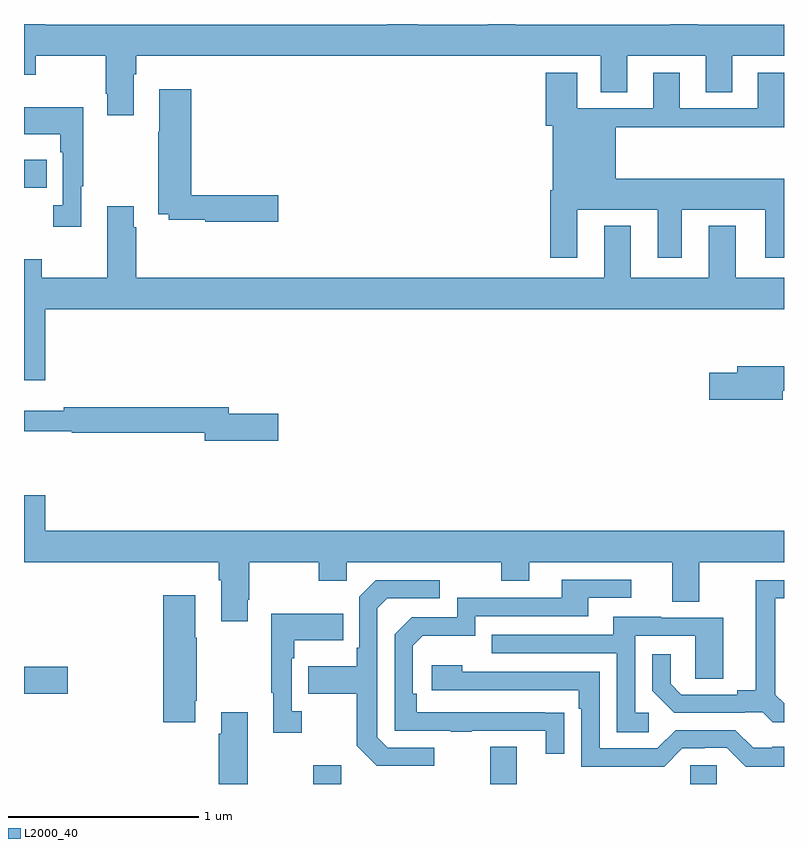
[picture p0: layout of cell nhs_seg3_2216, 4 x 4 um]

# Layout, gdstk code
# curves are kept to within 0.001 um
import gdstk
lib = gdstk.Library(unit=1e-6, precision=1e-09)
def R(c, l, rs):  # rectangles x0, y0, x1, y1
    for r in rs: c.add(gdstk.rectangle(r[:2], r[2:], *l))
def P(c, l, *ps):  # polygons
    for p in ps: c.add(gdstk.Polygon(p, *l))
L2000_40 = (2000, 40)

nhs_seg3_2216 = lib.new_cell('nhs_seg3_2216')
R(nhs_seg3_2216, L2000_40, [(226.522,714.4,226.669,714.499), (227.453,714.4,227.593,714.595), (228.507,714.4,228.645,714.498), (225,714.874,225.229,715.016), (225,717.538,225.119,717.685)])
P(nhs_seg3_2216, L2000_40, [(225.577,718.136),(225.59,718.136),(225.59,718.232),(228.035,718.232),(228.035,718.042),(228.175,718.042),(228.175,718.232),(228.587,718.232),(228.587,718.042),(228.727,718.042),(228.727,718.232),(229,718.232),(229,718.396),(228.547,718.396),(228.547,718.4),(228.4,718.4),(228.4,718.396),(227.586,718.396),(227.586,718.4),(227.44,718.4),(227.44,718.396),(227.073,718.396),(227.073,718.4),(226.913,718.4),(226.913,718.396),(225.112,718.396),(225.112,718.4),(225,718.4),(225,718.133),(225.063,718.133),(225.063,718.232),(225.43,718.232),(225.43,718.033),(225.437,718.033),(225.437,717.921),(225.577,717.921)],
  [(227.911,717.422),(228.335,717.422),(228.335,717.171),(228.463,717.171),(228.463,717.422),(228.902,717.422),(228.902,717.171),(229,717.171),(229,717.586),(228.115,717.586),(228.115,717.856),(229,717.856),(229,718.144),(228.863,718.144),(228.863,717.957),(228.451,717.957),(228.451,718.144),(228.311,718.144),(228.311,717.957),(227.911,717.957),(227.911,718.144),(227.747,718.144),(227.747,717.864),(227.783,717.864),(227.783,717.526),(227.771,717.526),(227.771,717.171),(227.911,717.171)],
  [(226.339,717.5),(225.881,717.5),(225.881,718.057),(225.713,718.057),(225.713,717.833),(225.706,717.833),(225.706,717.398),(225.762,717.398),(225.762,717.37),(225.954,717.37),(225.954,717.358),(226.339,717.358)],
  [(225.301,717.545),(225.313,717.545),(225.313,717.961),(225,717.961),(225,717.821),(225.192,717.821),(225.192,717.725),(225.204,717.725),(225.204,717.446),(225.153,717.446),(225.153,717.333),(225.301,717.333)],
  [(225.112,716.9),(229,716.9),(229,717.064),(228.745,717.064),(228.745,717.337),(228.605,717.337),(228.605,717.064),(228.193,717.064),(228.193,717.337),(228.053,717.337),(228.053,717.064),(225.59,717.064),(225.59,717.329),(225.577,717.329),(225.577,717.442),(225.437,717.442),(225.437,717.064),(225.093,717.064),(225.093,717.163),(225,717.163),(225,716.526),(225.112,716.526)],
  [(228.994,716.47),(229,716.47),(229,716.599),(228.755,716.599),(228.755,716.565),(228.606,716.565),(228.606,716.423),(228.994,716.423)],
  [(226.339,716.348),(226.078,716.348),(226.078,716.384),(225.208,716.384),(225.208,716.365),(225,716.365),(225,716.256),(225.252,716.256),(225.252,716.248),(225.95,716.248),(225.95,716.206),(226.339,716.206)],
  [(226.177,715.369),(226.185,715.369),(226.185,715.568),(226.552,715.568),(226.552,715.469),(226.698,715.469),(226.698,715.568),(227.512,715.568),(227.512,715.469),(227.659,715.469),(227.659,715.568),(228.413,715.568),(228.413,715.36),(228.553,715.36),(228.553,715.568),(229,715.568),(229,715.732),(225.112,715.732),(225.112,715.921),(225,715.921),(225,715.568),(226.025,715.568),(226.025,715.472),(226.037,715.472),(226.037,715.257),(226.177,715.257)],
  [(227.843,714.776),(227.066,714.777),(227.066,714.874),(227.046,714.874),(227.046,715.128),(227.099,715.181),(227.376,715.181),(227.376,715.284),(227.971,715.284),(227.971,715.38),(228.196,715.38),(228.196,715.476),(227.831,715.476),(227.831,715.38),(227.28,715.38),(227.28,715.278),(227.04,715.278),(226.95,715.188),(226.95,714.681),(227.245,714.681),(227.245,714.676),(227.357,714.676),(227.357,714.681),(227.747,714.681),(227.747,714.558),(227.843,714.558)],
  [(227.158,714.591),(226.914,714.591),(226.86,714.645),(226.86,715.326),(226.911,715.377),(227.188,715.377),(227.188,715.473),(226.851,715.473),(226.764,715.386),(226.764,715.117),(226.752,715.117),(226.752,715.021),(226.495,715.021),(226.495,714.874),(226.752,714.874),(226.752,714.601),(226.857,714.495),(227.158,714.495)],
  [(229,714.824),(228.955,714.869),(228.955,715.377),(229,715.377),(229,715.473),(228.851,715.473),(228.851,714.893),(228.755,714.893),(228.755,714.87),(228.46,714.87),(228.403,714.927),(228.403,715.084),(228.306,715.084),(228.306,714.89),(228.422,714.774),(228.794,714.774),(228.794,714.777),(228.888,714.777),(228.94,714.725),(229,714.725)],
  [(225.901,714.838),(225.909,714.838),(225.909,715.169),(225.901,715.169),(225.901,715.393),(225.734,715.393),(225.734,714.726),(225.901,714.726)],
  [(226.462,714.782),(226.41,714.782),(226.41,715.061),(226.423,715.061),(226.423,715.157),(226.679,715.157),(226.679,715.297),(226.302,715.297),(226.302,714.881),(226.313,714.881),(226.313,714.669),(226.462,714.669)],
  [(228.289,714.774),(228.216,714.774),(228.216,715.179),(228.534,715.179),(228.534,714.955),(228.679,714.955),(228.679,715.275),(228.355,715.275),(228.355,715.279),(228.101,715.279),(228.101,715.185),(227.461,715.185),(227.461,715.089),(228.12,715.089),(228.12,714.673),(228.289,714.673)],
  [(229,714.595),(228.937,714.595),(228.937,714.591),(228.837,714.591),(228.744,714.684),(228.429,714.684),(228.333,714.588),(228.03,714.588),(228.03,714.99),(227.306,714.99),(227.306,715.024),(227.145,715.024),(227.145,714.894),(227.921,714.894),(227.921,714.797),(227.934,714.797),(227.934,714.492),(228.369,714.492),(228.465,714.588),(228.584,714.588),(228.584,714.591),(228.699,714.591),(228.799,714.491),(229,714.491)],
  [(226.037,714.778),(226.037,714.665),(226.025,714.665),(226.025,714.4),(226.177,714.4),(226.177,714.778)])

lib.write_gds('nhs_seg3_2216.gds')
